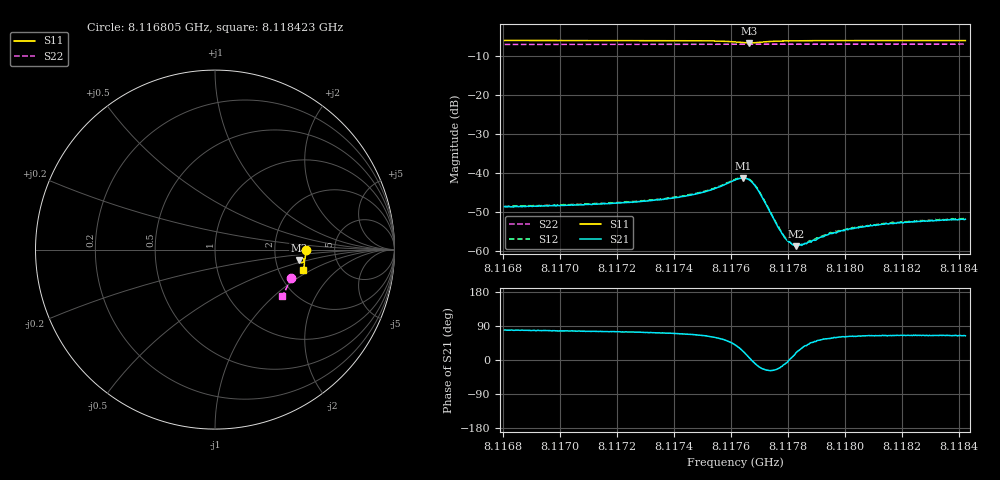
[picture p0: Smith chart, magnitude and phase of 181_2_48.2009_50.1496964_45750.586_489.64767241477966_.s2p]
#  HZ  S  RI  R  50.00
! Rohde & Schwarz Vector Network Analyzer
! Rohde-Schwarz,ZNB20-2Port,1311601062101988,3.16
! Created: UTC 3/20/2024, 11:44:08 AM
! freq[Hz]  re:S11  im:S11  re:S21  im:S21  re:S12  im:S12  re:S22  im:S22
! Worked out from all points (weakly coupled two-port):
!   401 points, 8.116805 GHz to 8.118423 GHz, reference 50 ohm
!   highest |S21| = -41.16 dB at 8.117642 GHz (marker M1); lowest = -58.7 dB at 8.117828 GHz (marker M2)
!   lowest |S11| = -6.5 dB at 8.117662 GHz (marker M3), VSWR 2.78, Z = 135 - j20.4 ohm
!   |S11| at or under -10 dB: nowhere
!   |S22| runs from -6.9 to -6.8 dB; largest |S21 - S12| = 0.00022
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8.1168047e9  0.5064 -0.00217  0.000699 0.00369  0.000765 0.00371  0.4225 -0.1564
8.1170758e9  0.5054 -0.0233  0.000934 0.00384  0.00101 0.00394  0.4161 -0.1743
8.1173468e9  0.5026 -0.046  0.00147 0.00435  0.0015 0.00441  0.4092 -0.1917
8.1174318e9  0.5007 -0.0542  0.00181 0.00471  0.00188 0.00478  0.4066 -0.1974
8.1174965e9  0.4979 -0.0614  0.00241 0.00514  0.00251 0.00521  0.4049 -0.2016
8.1175451e9  0.4939 -0.0673  0.0033 0.00554  0.00338 0.00559  0.4032 -0.2049
8.1176139e9  0.4794 -0.0734  0.00627 0.00528  0.00645 0.00532  0.4005 -0.209
8.1176422e9  0.4698 -0.0681  0.00805 0.00344  0.00822 0.00339  0.3994 -0.2103
8.1176624e9  0.467 -0.0588  0.00827 0.00105  0.00844 0.000973  0.3988 -0.2111
8.1176786e9  0.4699 -0.0513  0.00734 -0.000695  0.00748 -0.000779  0.3985 -0.2118
8.1176948e9  0.4758 -0.0469  0.00587 -0.00168  0.00597 -0.00176  0.3985 -0.2126
8.1177635e9  0.4938 -0.0532  0.00192 -0.000836  0.00198 -0.000857  0.3972 -0.2173
8.1177878e9  0.4962 -0.0572  0.00147 -0.000301  0.00151 -0.000313  0.3965 -0.2188
8.117804e9  0.497 -0.0595  0.00132 -1.37e-05  0.00133 -3.39e-05  0.396 -0.2199
8.1178161e9  0.4974 -0.0612  0.0012 0.000185  0.00122 0.000173  0.3957 -0.2208
8.1178283e9  0.4979 -0.0629  0.0011 0.000382  0.00118 0.000362  0.3953 -0.2216
8.1178445e9  0.4982 -0.0651  0.00107 0.00059  0.00105 0.000609  0.3946 -0.2228
8.1178849e9  0.4985 -0.0698  0.000948 0.000994  0.000962 0.000987  0.3935 -0.225
8.1179577e9  0.4984 -0.0772  0.000904 0.00144  0.000919 0.00146  0.3911 -0.2297
8.1180103e9  0.4978 -0.082  0.000896 0.00167  0.000943 0.00172  0.3894 -0.2331
8.118156e9  0.4959 -0.0943  0.000978 0.00205  0.00101 0.00206  0.3843 -0.242
8.118423e9  0.4915 -0.115  0.00114 0.00232  0.00113 0.00234  0.3748 -0.2582
